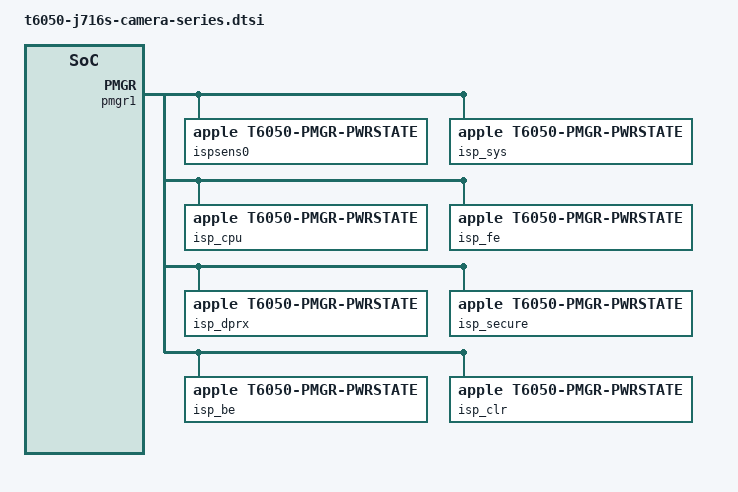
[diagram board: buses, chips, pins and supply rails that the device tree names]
// SPDX-License-Identifier: GPL-2.0+ OR MIT
/*
 * J716s camera bring-up, for the daily j716s-series DT: #include this at the end of
 * t6050-j716s.dts. It carries the isp/t6050 branch's T6050 ISP nodes (t6050-die0.dtsi) and
 * J716s camera description (t6050-j716s.dts), with the firmware regions filled statically
 * from the J716s runtime ADT of 2026-11-04 and everything enabled, for a loader without the
 * T6050 ISP hand-off (m1n1 before patch 0029). No "isp" alias: with it, m1n1 would append its
 * own asc-firmware regions and disable the node.
 *
 * Check before booting: isp0 segment-ranges on the running system must still read
 * TEXT 0xc1c000 @ 0x10001094000 and DATA 0x13d0000 @ 0x1000269c000.
 */

/*
 * The camera ISP's power states (ADT /arm-io/pmgr, group 1). ISP_SYS (+0x3a0) and ISPSENS0
 * (+0x100) have ADT offsets. The ADT lists ISP_CPU, ISP_FE, DPRX, ISP_SECURE, ISP_BE and
 * ISP_CLR without one (no_ps); their slots follow the group's linear device-ID layout (ID 214
 * at +0x380, 8 bytes per ID: IDs 220, 221, 225, 226, 227 and 228), which the ADT's offsets for
 * IDs 214-224 and DPTX_PHY at +0x3f8 also follow, and lie inside the first DAPF window of
 * dart-isp0 (+0x3b0..+0x3f3). The parents are the ADT's; FAB9_SOC above ISP_SYS is left out.
 * All stay disabled until a board enables the camera.
 */
&pmgr1 {
	ps_ispsens0: power-controller@100 {
		compatible = "apple,t6050-pmgr-pwrstate", "apple,t8103-pmgr-pwrstate";
		reg = <0x100 4>;
		#power-domain-cells = <0>;
		#reset-cells = <0>;
		label = "ispsens0";
		status = "disabled";
	};

	ps_isp_sys: power-controller@3a0 {
		compatible = "apple,t6050-pmgr-pwrstate", "apple,t8103-pmgr-pwrstate";
		reg = <0x3a0 4>;
		#power-domain-cells = <0>;
		#reset-cells = <0>;
		label = "isp_sys";
		status = "disabled";
	};

	ps_isp_cpu: power-controller@3b0 {
		compatible = "apple,t6050-pmgr-pwrstate", "apple,t8103-pmgr-pwrstate";
		reg = <0x3b0 4>;
		#power-domain-cells = <0>;
		#reset-cells = <0>;
		label = "isp_cpu";
		power-domains = <&ps_isp_sys>;
		status = "disabled";
	};

	ps_isp_fe: power-controller@3b8 {
		compatible = "apple,t6050-pmgr-pwrstate", "apple,t8103-pmgr-pwrstate";
		reg = <0x3b8 4>;
		#power-domain-cells = <0>;
		#reset-cells = <0>;
		label = "isp_fe";
		power-domains = <&ps_isp_sys>;
		status = "disabled";
	};

	ps_isp_dprx: power-controller@3d8 {
		compatible = "apple,t6050-pmgr-pwrstate", "apple,t8103-pmgr-pwrstate";
		reg = <0x3d8 4>;
		#power-domain-cells = <0>;
		#reset-cells = <0>;
		label = "isp_dprx";
		power-domains = <&ps_isp_fe>;
		status = "disabled";
	};

	ps_isp_secure: power-controller@3e0 {
		compatible = "apple,t6050-pmgr-pwrstate", "apple,t8103-pmgr-pwrstate";
		reg = <0x3e0 4>;
		#power-domain-cells = <0>;
		#reset-cells = <0>;
		label = "isp_secure";
		power-domains = <&ps_isp_fe>;
		status = "disabled";
	};

	ps_isp_be: power-controller@3e8 {
		compatible = "apple,t6050-pmgr-pwrstate", "apple,t8103-pmgr-pwrstate";
		reg = <0x3e8 4>;
		#power-domain-cells = <0>;
		#reset-cells = <0>;
		label = "isp_be";
		power-domains = <&ps_isp_fe>;
		status = "disabled";
	};

	ps_isp_clr: power-controller@3f0 {
		compatible = "apple,t6050-pmgr-pwrstate", "apple,t8103-pmgr-pwrstate";
		reg = <0x3f0 4>;
		#power-domain-cells = <0>;
		#reset-cells = <0>;
		label = "isp_clr";
		power-domains = <&ps_isp_be>;
		status = "disabled";
	};
};

&die0 {
	/*
	 * The camera ISP (ADT /arm-io/isp0, firmware pre-loaded by iBoot), at T6040's address and
	 * with its layout: "coproc" is the coprocessor up to its control block; "mbox", "gpio" and
	 * "mbox2" are the interrupt words, the firmware handshake words and the doorbell of its
	 * mailbox at +0x2924000. The first of the ADT's interrupts (513-516, 526) carries the
	 * mailbox. The board adds the firmware regions, the platform ID and the sensor presets.
	 */
	isp: isp@580000000 {
		compatible = "apple,t6050-isp", "apple,isp";
		reg = <0x5 0x80000000 0x0 0x1604000>,
		      <0x5 0x82924000 0x0 0x40>,
		      <0x5 0x829241d0 0x0 0x20>,
		      <0x5 0x82924464 0x0 0x10>;
		reg-names = "coproc", "mbox", "gpio", "mbox2";
		interrupts = <AIC_IRQ 0 513 IRQ_TYPE_LEVEL_HIGH>;
		iommus = <&isp_dart0 0>, <&isp_dart1 0>, <&isp_dart2 0>;
		power-domains = <&ps_isp_sys>, <&ps_isp_cpu>, <&ps_isp_fe>,
				<&ps_isp_dprx>, <&ps_isp_secure>, <&ps_isp_be>,
				<&ps_isp_clr>, <&ps_ispsens0>;
		/* the shared memory window above the firmware's 32 MiB, as on T6040 */
		apple,dart-vm-size = /bits/ 64 <0xde600000>;
		status = "disabled";
	};

	/*
	 * ADT dart-isp0: three instances on one interrupt, the first with the address filter
	 * (ADT reg[5]) the driver programs. ADT "remap": streams 1, 6, 7, 10 and 11 are stream 0.
	 * Streams 4, 5, 8 and 9 (the ADT's exclave-sid) are not used.
	 */
	isp_dart0: iommu@5828c0000 {
		compatible = "apple,t6050-dart", "apple,t8110-dart";
		reg = <0x5 0x828c0000 0x0 0xc000>,
		      <0x5 0x828d0000 0x0 0x4000>;
		reg-names = "dart", "dapf";
		#iommu-cells = <1>;
		interrupts = <AIC_IRQ 0 531 IRQ_TYPE_LEVEL_HIGH>;
		power-domains = <&ps_isp_sys>;
		apple,remap-streams = <1 0>, <6 0>, <7 0>, <10 0>, <11 0>;
		status = "disabled";
	};

	isp_dart1: iommu@5828e0000 {
		compatible = "apple,t6050-dart", "apple,t8110-dart";
		reg = <0x5 0x828e0000 0x0 0xc000>;
		#iommu-cells = <1>;
		interrupts = <AIC_IRQ 0 531 IRQ_TYPE_LEVEL_HIGH>;
		power-domains = <&ps_isp_sys>;
		apple,remap-streams = <1 0>, <6 0>, <7 0>, <10 0>, <11 0>;
		status = "disabled";
	};

	isp_dart2: iommu@582900000 {
		compatible = "apple,t6050-dart", "apple,t8110-dart";
		reg = <0x5 0x82900000 0x0 0xc000>;
		#iommu-cells = <1>;
		interrupts = <AIC_IRQ 0 531 IRQ_TYPE_LEVEL_HIGH>;
		power-domains = <&ps_isp_sys>;
		apple,remap-streams = <1 0>, <6 0>, <7 0>, <10 0>, <11 0>;
		status = "disabled";
	};
};

/*
 * The front camera. iBoot loads the ISP firmware below the kernel's memory, at addresses that
 * move with the boot firmware. The loader fills these placeholders from the ADT's isp0
 * segment-ranges: reg, and iommu-addresses where the firmware runs them, from 0x100_0000_0000
 * on; it then enables the ISP, its DARTs and their power states. The driver checks that the
 * coprocessor never ran and that its reset vector is this text before it starts the firmware.
 */
/ {
	reserved-memory {
		isp_fw_text: isp-firmware-text {
			no-map;
		};

		isp_fw_data: isp-firmware-data {
			no-map;
		};

		/* the firmware's 32 MiB main memory, the driver allocates above it */
		isp_heap: isp-heap {
			iommu-addresses = <&isp 0x100 0x0 0x0 0x2000000>;
		};
	};
};

&isp {
	memory-region = <&isp_fw_text>, <&isp_fw_data>, <&isp_heap>;
	memory-region-names = "text", "data", "heap";
	/* ADT isp0 sensor-type and cam-connections-scheme */
	apple,platform-id = <118>;
	apple,cam-connections-scheme = <0x10>;

	/*
	 * The 12 MP front camera, taken to be the J616s's IMX958 (setfile 2224_01): firmware
	 * configuration 5, as on the J616s. The driver adds the firmware's other usable
	 * configurations and drops a preset whose configuration the firmware lacks.
	 */
	sensor-presets {
		/* 1920x1080 */
		preset0 {
			apple,config-index = <5>;
			apple,input-size = <1920 2160>;
			apple,output-size = <1920 1080>;
			apple,crop = <0 0 1920 1080>;
		};
		/* 1280x720: the same window as 1920x1080, scaled down */
		preset1 {
			apple,config-index = <5>;
			apple,input-size = <1920 2160>;
			apple,output-size = <1280 720>;
			apple,crop = <0 0 1920 1080>;
		};
	};
};

/* Static hand-off and enables */
&isp_fw_text {
	reg = <0x100 0x01094000 0x0 0xc1c000>;
	iommu-addresses = <&isp 0x100 0x0 0x0 0xc1c000>;
};

&isp_fw_data {
	reg = <0x100 0x0269c000 0x0 0x13d0000>;
	iommu-addresses = <&isp 0x100 0xc1c000 0x0 0x13d0000>;
};

&ps_isp_sys { status = "okay"; };
&ps_isp_cpu { status = "okay"; };
&ps_isp_fe { status = "okay"; };
&ps_isp_dprx { status = "okay"; };
&ps_isp_secure { status = "okay"; };
&ps_isp_be { status = "okay"; };
&ps_isp_clr { status = "okay"; };
&ps_ispsens0 { status = "okay"; };

&isp_dart0 { status = "okay"; };
&isp_dart1 { status = "okay"; };
&isp_dart2 { status = "okay"; };

&isp {
	status = "okay";
};
